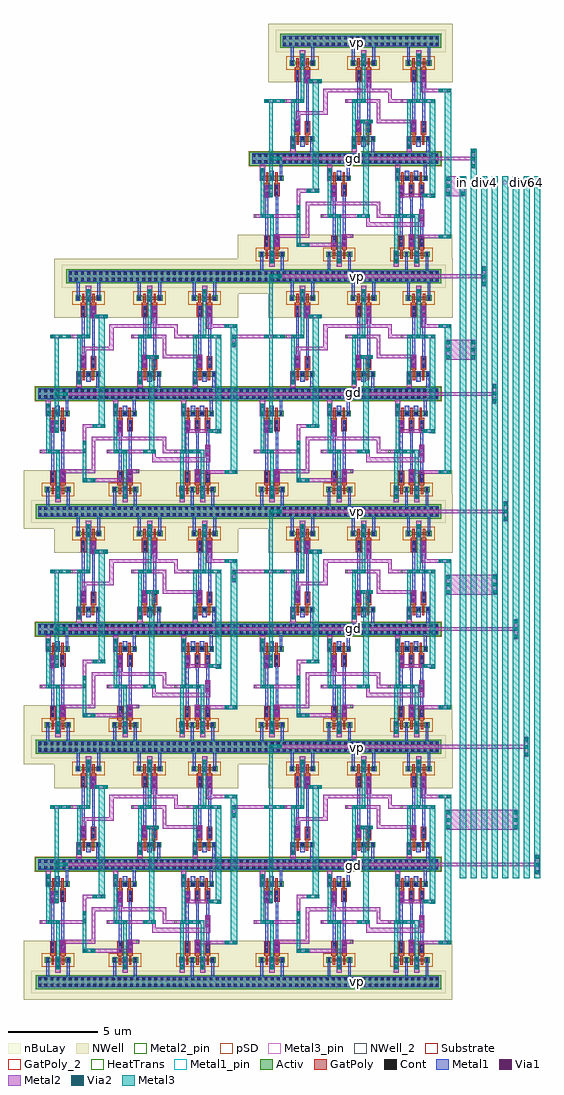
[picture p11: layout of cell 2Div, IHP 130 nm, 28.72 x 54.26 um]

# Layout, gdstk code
from math import pi, radians
import gdstk
lib = gdstk.Library(unit=1e-6, precision=1e-09)
def R(c, l, rs):  # rectangles x0, y0, x1, y1
    for r in rs: c.add(gdstk.rectangle(r[:2], r[2:], *l))
def A(c, l, x, y, w, h, nx, ny, dx, dy):  # array of equal rectangles
    R(c, l, [(x+i*dx, y+j*dy, x+i*dx+w, y+j*dy+h) for i in range(nx) for j in range(ny)])
Activ = (1, 0)
GatPoly = (5, 0)
GatPoly_2 = (5, 2)
Cont = (6, 0)
Metal1 = (8, 0)
Metal1_pin = (8, 2)
Metal2 = (10, 0)
Metal2_pin = (10, 2)
pSD = (14, 0)
Via1 = (19, 0)
Via2 = (29, 0)
Metal3 = (30, 0)
Metal3_pin = (30, 2)
NWell = (31, 0)
NWell_2 = (31, 2)
nBuLay = (32, 0)
Substrate = (40, 0)
HeatTrans = (51, 0)

via_40 = lib.new_cell('Via$40')
R(via_40, Metal2, [(-0.1,-0.555,0.1,0.555)])
A(via_40, Via2, -0.095, -0.505, 0.19, 0.19, 1, 3, 0, 0.41)
R(via_40, Metal3, [(-0.1,-0.555,0.1,0.555)])

ptap1_2 = lib.new_cell('ptap1$2')
R(ptap1_2, Activ, [(0,0,0.78,0.78)])
R(ptap1_2, Cont, [(0.14,0.14,0.3,0.3), (0.48,0.14,0.64,0.3), (0.14,0.48,0.3,0.64), (0.48,0.48,0.64,0.64)])
R(ptap1_2, Metal1, [(0.14,0.09,0.64,0.69), (0.14,0.14,0.64,0.64)])
R(ptap1_2, Metal1_pin, [(0.14,0.14,0.64,0.64)])
R(ptap1_2, pSD, [(-0.03,-0.03,0.81,0.81)])
R(ptap1_2, Substrate, [(0,0,0.78,0.78)])
ptap1_2.add(gdstk.Label('sub!', (0.39,0.01), layer=63, texttype=0))
ptap1_2.add(gdstk.Label('sub!', (0.39,0.01), layer=40, texttype=0))

ntap1_5 = lib.new_cell('ntap1$5')
R(ntap1_5, Activ, [(0,0,7.8,0.78)])
A(ntap1_5, Cont, 0.08, 0.14, 0.16, 0.16, 23, 2, 0.34, 0.34)
R(ntap1_5, Metal1, [(0.08,0.09,7.72,0.69)])
R(ntap1_5, Metal1_pin, [(0.08,0.09,7.72,0.69), (0.08,0.14,7.72,0.64)])
R(ntap1_5, NWell, [(-0.24,-0.24,8.04,1.02), (0,0,7.8,0.78)])
R(ntap1_5, NWell_2, [(0,0,7.8,0.78)])
R(ntap1_5, nBuLay, [(-0.24,-0.24,8.04,1.02)])
ntap1_5.add(gdstk.Label('well', (3.9,0.01), layer=63, texttype=0))
ntap1_5.add(gdstk.Label('well', (3.9,0.01), layer=31, texttype=0))

ntap1_1_6 = lib.new_cell('ntap1$1$6')
R(ntap1_1_6, Activ, [(0,0,2.5,0.78)])
A(ntap1_1_6, Cont, 0.15, 0.14, 0.16, 0.16, 7, 2, 0.34, 0.34)
R(ntap1_1_6, Metal1, [(0.15,0.09,2.35,0.69)])
R(ntap1_1_6, Metal1_pin, [(0.15,0.09,2.35,0.69), (0.15,0.14,2.35,0.64)])
R(ntap1_1_6, NWell, [(-0.24,-0.24,2.74,1.02), (0,0,2.5,0.78)])
R(ntap1_1_6, NWell_2, [(0,0,2.5,0.78)])
R(ntap1_1_6, nBuLay, [(-0.24,-0.24,2.74,1.02)])
ntap1_1_6.add(gdstk.Label('well', (1.25,0.01), layer=63, texttype=0))
ntap1_1_6.add(gdstk.Label('well', (1.25,0.01), layer=31, texttype=0))

nmos_14 = lib.new_cell('nmos$14')
A(nmos_14, Activ, 0, 0, 0.3, 0.3, 3, 1, 0.51, 0)
R(nmos_14, Activ, [(0,0,1.32,0.3)])
R(nmos_14, GatPoly, [(0.34,-0.18,0.47,0.48), (0.85,-0.18,0.98,0.48)])
R(nmos_14, GatPoly_2, [(0.34,-0.18,0.47,0.48)])
A(nmos_14, Cont, 0.07, 0.07, 0.16, 0.16, 3, 1, 0.51, 0)
A(nmos_14, Metal1, 0.07, 0, 0.16, 0.3, 3, 1, 0.51, 0)
R(nmos_14, Metal1_pin, [(0.07,0,0.23,0.3), (0.58,0,0.74,0.3)])
R(nmos_14, HeatTrans, [(0.34,-0.18,0.47,0.48), (0.85,-0.18,0.98,0.48)])
nmos_14.add(gdstk.Label('nmos', (0.405,0.15), layer=63, texttype=0))
nmos_14.add(gdstk.Label('nmos', (0.405,0.15), layer=51, texttype=0))
nmos_14.add(gdstk.Label('nmos', (0.915,0.15), layer=51, texttype=0))

ptap1_1_7 = lib.new_cell('ptap1$1$7')
R(ptap1_1_7, Activ, [(0,0,2.5,0.78)])
A(ptap1_1_7, Cont, 0.15, 0.14, 0.16, 0.16, 7, 2, 0.34, 0.34)
R(ptap1_1_7, Metal1, [(0.15,0.09,2.35,0.69), (0.15,0.14,2.35,0.64)])
R(ptap1_1_7, Metal1_pin, [(0.15,0.14,2.35,0.64)])
R(ptap1_1_7, pSD, [(-0.03,-0.03,2.53,0.81)])
R(ptap1_1_7, Substrate, [(0,0,2.5,0.78)])
ptap1_1_7.add(gdstk.Label('sub!', (1.25,0.01), layer=63, texttype=0))
ptap1_1_7.add(gdstk.Label('sub!', (1.25,0.01), layer=40, texttype=0))

via_8_2 = lib.new_cell('Via$8$2')
R(via_8_2, Metal2, [(-0.1,-0.35,0.1,0.35)])
R(via_8_2, Via2, [(-0.095,-0.3,0.095,-0.11), (-0.095,0.11,0.095,0.3)])
R(via_8_2, Metal3, [(-0.1,-0.35,0.1,0.35)])

via_10_4 = lib.new_cell('Via$10$4')
R(via_10_4, Metal1, [(-0.105,-0.35,0.105,0.35)])
R(via_10_4, Metal2, [(-0.1,-0.35,0.1,0.35)])
R(via_10_4, Via1, [(-0.095,-0.3,0.095,-0.11), (-0.095,0.11,0.095,0.3)])

via_6_8 = lib.new_cell('Via$6$8')
R(via_6_8, GatPoly, [(-0.32,-0.15,0.32,0.15)])
R(via_6_8, Cont, [(-0.25,-0.08,-0.09,0.08), (0.09,-0.08,0.25,0.08)])
R(via_6_8, Metal1, [(-0.3,-0.08,0.3,0.08)])

pmos_12 = lib.new_cell('pmos$12')
A(pmos_12, Activ, 0, 0, 0.3, 0.3, 3, 1, 0.57, 0)
R(pmos_12, Activ, [(0,0.075,1.44,0.225)])
R(pmos_12, GatPoly, [(0.37,-0.105,0.5,0.405), (0.37,-0.105,0.5,0.405), (0.94,-0.105,1.07,0.405)])
A(pmos_12, Cont, 0.07, 0.07, 0.16, 0.16, 3, 1, 0.57, 0)
R(pmos_12, Metal1, [(0.07,0.02,0.23,0.28), (0.07,0.02,0.23,0.28), (0.64,0.02,0.8,0.28), (0.64,0.02,0.8,0.28), (1.21,0.02,1.37,0.28)])
R(pmos_12, pSD, [(-0.18,-0.225,1.62,0.525)])
R(pmos_12, NWell, [(-0.31,-0.31,1.75,0.61)])
R(pmos_12, Substrate, [(1.14,0,1.44,0.3)])
R(pmos_12, HeatTrans, [(0.37,-0.105,0.5,0.405), (0.94,-0.105,1.07,0.405)])
pmos_12.add(gdstk.Label('pmos', (0.435,0.15), layer=63, texttype=0))
pmos_12.add(gdstk.Label('pmos', (0.435,0.15), layer=51, texttype=0))
pmos_12.add(gdstk.Label('pmos', (1.005,0.15), layer=51, texttype=0))

nand_2in_nmosx2_7 = lib.new_cell('NAND_2in_nmosx2$7')
R(nand_2in_nmosx2_7, GatPoly, [(0.605,-3.005,0.905,-2.895), (1.165,-3.005,1.465,-2.895), (0.6,0.58,0.9,0.73), (1.16,0.58,1.46,0.73), (0.68,0.68,0.81,0.77), (1.25,0.68,1.38,0.77)])
R(nand_2in_nmosx2_7, Metal1, [(0.445,-4.15,0.605,-3.37), (0.915,-3.675,1.155,-3.415), (0.915,-3.435,1.155,-3.095), (0.67,-2.44,0.835,-2.21), (0.67,-2.21,0.83,-1.27), (1.23,-2.21,1.39,-1.27), (0.67,-1.31,0.83,-0.37), (1.23,-1.31,1.39,-0.37), (0.67,-0.37,0.83,-0.12), (1.23,-0.37,1.39,-0.01), (1.52,1,1.68,1.2), (0.38,1.01,0.54,1.15), (0.38,1.115,0.54,1.99), (1.52,1.115,1.68,1.94)])
R(nand_2in_nmosx2_7, Metal1_pin, [(0.44,-4.395,0.57,-4.265), (0.4,2.15,0.53,2.28)])
R(nand_2in_nmosx2_7, Metal2, [(1.415,-3.995,1.705,-3.795), (1.415,-3.795,1.705,-3.095), (1.165,-2.875,1.465,-2.175), (1.62,-1.24,2.05,-1.04), (0.6,-0.14,0.9,0.56), (0.88,0.78,1.17,0.98), (0.88,0.98,1.17,1.68)])
R(nand_2in_nmosx2_7, Metal2_pin, [(1.255,-2.345,1.385,-2.215), (1.905,-1.205,2.035,-1.075), (0.69,-0.1,0.82,0.03)])
R(nand_2in_nmosx2_7, Metal3, [(1.465,-3.105,1.665,-2.905), (1.465,-2.905,1.665,-1.045), (0.93,-1.09,1.13,0.17), (0.93,0.1,1.13,0.62), (0.93,0.62,1.13,0.72), (0.93,0.71,1.13,0.87)])
R(nand_2in_nmosx2_7, NWell, [(-0.85,-0.1,2.93,3.17)])
nand_2in_nmosx2_7.add(gdstk.Reference(ntap1_1_6, (-0.23,1.81)))
nand_2in_nmosx2_7.add(gdstk.Reference(nmos_14, (1.695,-3.095), rotation=pi))
nand_2in_nmosx2_7.add(gdstk.Reference(ptap1_1_7, (-0.22,-4.73)))
nand_2in_nmosx2_7.add(gdstk.Reference(via_8_2, (1.27,-1.14), rotation=3*pi/2))
nand_2in_nmosx2_7.add(gdstk.Reference(via_10_4, (1.565,-3.445), rotation=pi))
nand_2in_nmosx2_7.add(gdstk.Reference(via_10_4, (1.315,-2.525), rotation=pi))
nand_2in_nmosx2_7.add(gdstk.Reference(via_10_4, (0.75,0.21), rotation=pi))
nand_2in_nmosx2_7.add(gdstk.Reference(via_10_4, (1.03,1.13), rotation=pi))
nand_2in_nmosx2_7.add(gdstk.Reference(via_6_8, (0.755,-2.575), rotation=3*pi/2))
nand_2in_nmosx2_7.add(gdstk.Reference(via_6_8, (1.315,-2.575), rotation=3*pi/2))
nand_2in_nmosx2_7.add(gdstk.Reference(via_6_8, (0.75,0.26), rotation=3*pi/2))
nand_2in_nmosx2_7.add(gdstk.Reference(via_6_8, (1.31,0.26), rotation=3*pi/2))
nand_2in_nmosx2_7.add(gdstk.Reference(via_8_2, (1.565,-3.445), rotation=pi))
nand_2in_nmosx2_7.add(gdstk.Reference(via_8_2, (1.03,1.13), rotation=pi))
nand_2in_nmosx2_7.add(gdstk.Reference(pmos_12, (1.75,1.13), rotation=pi))
nand_2in_nmosx2_7.add(gdstk.Label('VP', (0.46,2.21), layer=8, texttype=25))
nand_2in_nmosx2_7.add(gdstk.Label('GND', (0.505,-4.325), layer=8, texttype=25))
nand_2in_nmosx2_7.add(gdstk.Label('y', (1.97,-1.14), layer=10, texttype=25))
nand_2in_nmosx2_7.add(gdstk.Label('b', (0.75,-0.04), layer=10, texttype=25))
nand_2in_nmosx2_7.add(gdstk.Label('a', (1.315,-2.285), layer=10, texttype=25))

via_11_2 = lib.new_cell('Via$11$2')
R(via_11_2, Metal2, [(-0.1,-0.555,0.1,0.555)])
A(via_11_2, Via2, -0.095, -0.505, 0.19, 0.19, 1, 3, 0, 0.41)
R(via_11_2, Metal3, [(-0.1,-0.555,0.1,0.555)])

nmos_2_4 = lib.new_cell('nmos$2$4')
A(nmos_2_4, Activ, 0, 0, 0.3, 0.3, 4, 1, 0.51, 0)
R(nmos_2_4, Activ, [(0,0,1.83,0.3)])
A(nmos_2_4, GatPoly, 0.34, -0.18, 0.13, 0.66, 3, 1, 0.51, 0)
R(nmos_2_4, GatPoly_2, [(0.34,-0.18,0.47,0.48)])
A(nmos_2_4, Cont, 0.07, 0.07, 0.16, 0.16, 4, 1, 0.51, 0)
A(nmos_2_4, Metal1, 0.07, 0, 0.16, 0.3, 4, 1, 0.51, 0)
R(nmos_2_4, Metal1_pin, [(0.07,0,0.23,0.3), (0.58,0,0.74,0.3)])
A(nmos_2_4, HeatTrans, 0.34, -0.18, 0.13, 0.66, 3, 1, 0.51, 0)
nmos_2_4.add(gdstk.Label('nmos', (0.405,0.15), layer=63, texttype=0))
nmos_2_4.add(gdstk.Label('nmos', (0.405,0.15), layer=51, texttype=0))
nmos_2_4.add(gdstk.Label('nmos', (0.915,0.15), layer=51, texttype=0))
nmos_2_4.add(gdstk.Label('nmos', (1.425,0.15), layer=51, texttype=0))

ntap1_6 = lib.new_cell('ntap1$6')
R(ntap1_6, Activ, [(0,0,3.5,0.78)])
A(ntap1_6, Cont, 0.14, 0.14, 0.16, 0.16, 10, 2, 0.34, 0.34)
R(ntap1_6, Metal1, [(0.14,0.09,3.36,0.69)])
R(ntap1_6, Metal1_pin, [(0.14,0.09,3.36,0.69), (0.14,0.14,3.36,0.64)])
R(ntap1_6, NWell, [(-0.24,-0.24,3.74,1.02), (0,0,3.5,0.78)])
R(ntap1_6, NWell_2, [(0,0,3.5,0.78)])
R(ntap1_6, nBuLay, [(-0.24,-0.24,3.74,1.02)])
ntap1_6.add(gdstk.Label('well', (1.75,0.01), layer=63, texttype=0))
ntap1_6.add(gdstk.Label('well', (1.75,0.01), layer=31, texttype=0))

ptap1_4 = lib.new_cell('ptap1$4')
R(ptap1_4, Activ, [(0,0,3.5,0.78)])
A(ptap1_4, Cont, 0.14, 0.14, 0.16, 0.16, 10, 2, 0.34, 0.34)
R(ptap1_4, Metal1, [(0.14,0.09,3.36,0.69), (0.14,0.14,3.36,0.64)])
R(ptap1_4, Metal1_pin, [(0.14,0.14,3.36,0.64)])
R(ptap1_4, pSD, [(-0.03,-0.03,3.53,0.81)])
R(ptap1_4, Substrate, [(0,0,3.5,0.78)])
ptap1_4.add(gdstk.Label('sub!', (1.75,0.01), layer=63, texttype=0))
ptap1_4.add(gdstk.Label('sub!', (1.75,0.01), layer=40, texttype=0))

pmos_2_4 = lib.new_cell('pmos$2$4')
A(pmos_2_4, Activ, 0, 0, 0.3, 0.3, 4, 1, 0.57, 0)
R(pmos_2_4, Activ, [(0,0.075,2.01,0.225)])
A(pmos_2_4, GatPoly, 0.37, -0.105, 0.13, 0.51, 3, 1, 0.57, 0)
R(pmos_2_4, GatPoly, [(0.37,-0.105,0.5,0.405)])
A(pmos_2_4, Cont, 0.07, 0.07, 0.16, 0.16, 4, 1, 0.57, 0)
A(pmos_2_4, Metal1, 0.64, 0.02, 0.16, 0.26, 3, 1, 0.57, 0)
R(pmos_2_4, Metal1, [(0.07,0.02,0.23,0.28), (0.07,0.02,0.23,0.28), (0.64,0.02,0.8,0.28)])
R(pmos_2_4, pSD, [(-0.18,-0.225,2.19,0.525)])
R(pmos_2_4, NWell, [(-0.31,-0.31,2.32,0.61)])
R(pmos_2_4, Substrate, [(1.71,0,2.01,0.3)])
A(pmos_2_4, HeatTrans, 0.37, -0.105, 0.13, 0.51, 3, 1, 0.57, 0)
pmos_2_4.add(gdstk.Label('pmos', (0.435,0.15), layer=63, texttype=0))
pmos_2_4.add(gdstk.Label('pmos', (0.435,0.15), layer=51, texttype=0))
pmos_2_4.add(gdstk.Label('pmos', (1.005,0.15), layer=51, texttype=0))
pmos_2_4.add(gdstk.Label('pmos', (1.575,0.15), layer=51, texttype=0))

nand_3in_nmosx3_10 = lib.new_cell('NAND_3in_nmosx3$10')
R(nand_3in_nmosx3_10, GatPoly, [(0.115,-3.025,0.245,-2.915), (0.685,-3.025,0.815,-2.915), (0.035,-3.005,0.335,-2.895), (0.605,-3.005,0.905,-2.895), (1.165,-3.005,1.465,-2.895), (0.03,0.58,0.33,0.73), (0.6,0.58,0.9,0.73), (1.16,0.58,1.46,0.73), (0.68,0.68,0.81,0.77), (1.25,0.68,1.38,0.77)])
R(nand_3in_nmosx3_10, Metal1, [(-0.095,-4.15,0.065,-3.37), (0.375,-3.675,0.615,-3.415), (0.885,-3.675,1.125,-3.415), (0.375,-3.435,0.615,-3.095), (0.885,-3.435,1.125,-3.095), (0.67,-2.44,0.835,-2.09), (0.1,-2.42,0.265,-1.91), (0.67,-2.21,0.83,-1.27), (1.23,-2.21,1.39,-1.27), (0.1,-1.91,0.26,-0.56), (0.67,-1.31,0.83,-0.37), (1.23,-1.31,1.39,-0.37), (0.1,-0.62,0.26,-0.04), (1.23,-0.53,1.39,0), (0.67,-0.37,0.83,-0.11), (0.95,1,1.11,1.2), (-0.19,1.01,-0.03,1.15), (-0.19,1.115,-0.03,1.99), (0.95,1.115,1.11,1.94)])
R(nand_3in_nmosx3_10, Metal1_pin, [(0.44,-4.405,0.57,-4.275), (0.74,2.15,0.87,2.28)])
R(nand_3in_nmosx3_10, Metal2, [(1.375,-3.995,1.665,-3.795), (1.375,-3.795,1.665,-3.095), (1.155,-2.875,1.455,-2.175), (0.03,-1.51,0.33,-0.81), (1.62,-1.24,2.05,-1.04), (0.59,-0.14,0.89,0.56), (0.31,0.78,0.6,0.98), (1.45,0.78,1.74,0.98), (0.31,0.98,0.6,1.68), (1.45,0.98,1.74,1.68)])
R(nand_3in_nmosx3_10, Metal2_pin, [(1.255,-2.385,1.385,-2.255), (0.11,-1.215,0.24,-1.085), (1.905,-1.205,2.035,-1.075), (0.69,-0.07,0.82,0.06)])
R(nand_3in_nmosx3_10, Metal3, [(1.425,-3.105,1.625,-2.905), (1.425,-2.905,1.625,-2.5), (1.425,-2.5,1.625,-1.15), (0.36,-1.24,0.56,-0.97), (0.38,-1.24,0.565,-1.04), (1.66,-1.24,1.7,-1.09), (1.5,-1.09,1.7,0.17), (0.36,-0.97,0.56,0.26), (1.5,-0.03,1.7,0.62), (0.36,0.08,0.56,0.78), (1.5,0.62,1.7,0.72), (1.5,0.71,1.7,0.87)])
R(nand_3in_nmosx3_10, NWell, [(-1.52,-0.1,-0.85,3.17), (-0.85,-0.1,2.93,3.17)])
nand_3in_nmosx3_10.add(gdstk.Reference(via_10_4, (1.525,-3.445), rotation=pi))
nand_3in_nmosx3_10.add(gdstk.Reference(via_10_4, (1.315,-2.525), rotation=pi))
nand_3in_nmosx3_10.add(gdstk.Reference(via_10_4, (0.18,-1.16), rotation=pi))
nand_3in_nmosx3_10.add(gdstk.Reference(via_10_4, (0.75,0.21), rotation=pi))
nand_3in_nmosx3_10.add(gdstk.Reference(via_10_4, (0.46,1.13), rotation=pi))
nand_3in_nmosx3_10.add(gdstk.Reference(via_10_4, (1.6,1.13), rotation=pi))
nand_3in_nmosx3_10.add(gdstk.Reference(via_11_2, (1.12,-1.14), rotation=3*pi/2))
nand_3in_nmosx3_10.add(gdstk.Reference(nmos_2_4, (1.665,-3.095), rotation=pi))
nand_3in_nmosx3_10.add(gdstk.Reference(ntap1_6, (-0.9,1.81)))
nand_3in_nmosx3_10.add(gdstk.Reference(ptap1_4, (-0.89,-4.73)))
nand_3in_nmosx3_10.add(gdstk.Reference(via_8_2, (1.525,-3.445), rotation=pi))
nand_3in_nmosx3_10.add(gdstk.Reference(via_8_2, (0.46,1.13), rotation=pi))
nand_3in_nmosx3_10.add(gdstk.Reference(via_8_2, (1.6,1.13), rotation=pi))
nand_3in_nmosx3_10.add(gdstk.Reference(via_6_8, (0.185,-2.575), rotation=3*pi/2))
nand_3in_nmosx3_10.add(gdstk.Reference(via_6_8, (0.755,-2.575), rotation=3*pi/2))
nand_3in_nmosx3_10.add(gdstk.Reference(via_6_8, (1.315,-2.575), rotation=3*pi/2))
nand_3in_nmosx3_10.add(gdstk.Reference(via_6_8, (0.18,0.26), rotation=3*pi/2))
nand_3in_nmosx3_10.add(gdstk.Reference(via_6_8, (0.75,0.26), rotation=3*pi/2))
nand_3in_nmosx3_10.add(gdstk.Reference(via_6_8, (1.31,0.26), rotation=3*pi/2))
nand_3in_nmosx3_10.add(gdstk.Reference(pmos_2_4, (1.75,1.13), rotation=pi))
nand_3in_nmosx3_10.add(gdstk.Label('VP', (0.8,2.21), layer=8, texttype=25))
nand_3in_nmosx3_10.add(gdstk.Label('GND', (0.505,-4.335), layer=8, texttype=25))
nand_3in_nmosx3_10.add(gdstk.Label('y', (1.97,-1.14), layer=10, texttype=25))
nand_3in_nmosx3_10.add(gdstk.Label('b', (0.76,0.02), layer=10, texttype=25))
nand_3in_nmosx3_10.add(gdstk.Label('c', (0.17,-1.15), layer=10, texttype=25))
nand_3in_nmosx3_10.add(gdstk.Label('a', (1.315,-2.325), layer=10, texttype=25))

ntap1_3_2 = lib.new_cell('ntap1$3$2')
R(ntap1_3_2, Activ, [(0,0,1.8,0.78)])
A(ntap1_3_2, Cont, 0.14, 0.14, 0.16, 0.16, 5, 2, 0.34, 0.34)
R(ntap1_3_2, Metal1, [(0.14,0.09,1.66,0.69)])
R(ntap1_3_2, Metal1_pin, [(0.14,0.09,1.66,0.69), (0.14,0.14,1.66,0.64)])
R(ntap1_3_2, NWell, [(-0.24,-0.24,2.04,1.02), (0,0,1.8,0.78)])
R(ntap1_3_2, NWell_2, [(0,0,1.8,0.78)])
R(ntap1_3_2, nBuLay, [(-0.24,-0.24,2.04,1.02)])
ntap1_3_2.add(gdstk.Label('well', (0.9,0.01), layer=63, texttype=0))
ntap1_3_2.add(gdstk.Label('well', (0.9,0.01), layer=31, texttype=0))

via_36 = lib.new_cell('Via$36')
R(via_36, Metal2, [(-0.35,-0.1,0.35,0.1)])
R(via_36, Via2, [(-0.3,-0.095,-0.11,0.095), (0.11,-0.095,0.3,0.095)])
R(via_36, Metal3, [(-0.35,-0.1,0.35,0.1)])

via_12_2 = lib.new_cell('Via$12$2')
R(via_12_2, Metal2, [(-0.555,-0.1,0.555,0.1)])
A(via_12_2, Via2, -0.505, -0.095, 0.19, 0.19, 3, 1, 0.41, 0)
R(via_12_2, Metal3, [(-0.555,-0.1,0.555,0.1)])

via_13_3 = lib.new_cell('Via$13$3')
R(via_13_3, Metal2, [(-0.76,-0.1,0.76,0.1)])
A(via_13_3, Via2, -0.71, -0.095, 0.19, 0.19, 4, 1, 0.41, 0)
R(via_13_3, Metal3, [(-0.76,-0.1,0.76,0.1)])

ntap1_2_9 = lib.new_cell('ntap1$2$9')
R(ntap1_2_9, Activ, [(0,0,2,0.78)])
A(ntap1_2_9, Cont, 0.07, 0.14, 0.16, 0.16, 6, 2, 0.34, 0.34)
R(ntap1_2_9, Metal1, [(0.07,0.09,1.93,0.69)])
R(ntap1_2_9, Metal1_pin, [(0.07,0.09,1.93,0.69), (0.07,0.14,1.93,0.64)])
R(ntap1_2_9, NWell, [(-0.24,-0.24,2.24,1.02), (0,0,2,0.78)])
R(ntap1_2_9, NWell_2, [(0,0,2,0.78)])
R(ntap1_2_9, nBuLay, [(-0.24,-0.24,2.24,1.02)])
ntap1_2_9.add(gdstk.Label('well', (1,0.01), layer=63, texttype=0))
ntap1_2_9.add(gdstk.Label('well', (1,0.01), layer=31, texttype=0))

d_flip_flop_2 = lib.new_cell('d_flip_flop$2')
R(d_flip_flop_2, Metal1_pin, [(5.305,-5.04,5.435,-4.91), (4.995,1.37,5.125,1.5), (4.785,7.96,4.915,8.09)])
R(d_flip_flop_2, Metal2, [(-0.15,-2.95,1.29,-2.75), (1.29,-2.95,1.96,-2.75), (5.3,-2.91,5.88,-2.71), (7.74,-2.91,9.52,-2.71), (7.74,-2.81,7.94,-2.31), (1.34,-2.31,1.6,-2.04), (1.36,-2.31,4.58,-2.04), (7.74,-2.31,7.94,-1.39), (4.38,-2.13,4.585,-1.73), (3.36,-1.81,3.94,-1.61), (3.79,-1.81,3.99,-1.39), (4.38,-1.81,4.67,-1.61), (4.67,-1.81,6.02,-1.61), (8.24,-1.81,8.44,-0.89), (8.27,-1.81,9.71,-1.61), (3.79,-1.39,3.99,-0.91), (7.74,-1.39,7.94,-0.91), (3.79,-1.1,4.07,-0.9), (4.07,-1.1,4.65,-0.9), (4.65,-1.1,6.26,-0.9), (6.16,-1.1,7.94,-0.9), (6.215,-0.94,6.515,-0.675), (8.24,-0.89,8.44,-0.2), (1.38,-0.67,2.58,-0.47), (7.69,-0.4,8.27,-0.2), (1.79,3.46,3.17,3.66), (3.17,3.46,3.99,3.66), (3.79,3.53,3.99,4.17), (8.255,3.655,8.505,4.12), (6.71,3.92,6.96,5.17), (6.71,3.92,7.72,4.12), (7.72,3.92,8.47,4.12), (3.79,4.17,3.99,4.59), (2.465,4.59,3.35,4.79), (3.79,4.59,4.61,4.79), (9.14,4.59,10.17,4.79), (3.15,4.79,3.35,5.21), (0.13,5.17,0.61,5.37), (0.61,5.17,1.48,5.37), (1.23,5.17,1.53,5.19), (3.15,5.17,3.67,5.37), (3.67,5.17,4.54,5.37), (4.22,5.17,6.21,5.37), (6.21,5.17,6.96,5.37), (1.23,5.19,1.53,5.69), (4.29,5.29,4.59,5.69)])
R(d_flip_flop_2, Metal2_pin, [(5.325,-2.88,5.455,-2.75), (10.695,-1.775,10.825,-1.645), (10.075,4.625,10.205,4.755)])
R(d_flip_flop_2, Metal3, [(-0.15,-2.85,0.2,-2.45), (-0.15,-2.45,0.2,4.28), (4.45,-1.81,4.73,2.56), (0.73,-0.7,1.05,3.6), (9.78,-0.47,9.98,3.76), (7.205,-0.4,7.54,4.77), (4.45,2.56,4.73,3.49), (0.73,3.6,1.05,4.69), (9.775,3.76,9.98,4.69), (-0.15,4.28,0.2,5.23), (7.205,4.77,7.54,5.76)])
R(d_flip_flop_2, Metal3_pin, [(-0.045,1.42,0.085,1.55)])
d_flip_flop_2.add(gdstk.Reference(nand_2in_nmosx2_7, (5.05,-2.85), x_reflection=True))
d_flip_flop_2.add(gdstk.Reference(nand_3in_nmosx3_10, (1.31,-2.85), x_reflection=True))
d_flip_flop_2.add(gdstk.Reference(nand_2in_nmosx2_7, (7.09,5.83)))
d_flip_flop_2.add(gdstk.Reference(nand_2in_nmosx2_7, (0.63,5.83)))
d_flip_flop_2.add(gdstk.Reference(nand_2in_nmosx2_7, (8.79,-2.85), x_reflection=True))
d_flip_flop_2.add(gdstk.Reference(ntap1_3_2, (2.45,7.64)))
d_flip_flop_2.add(gdstk.Reference(ntap1_3_2, (5.51,7.64)))
d_flip_flop_2.add(gdstk.Reference(via_36, (0.2,-2.85), rotation=pi))
d_flip_flop_2.add(gdstk.Reference(via_36, (0.2,5.27), rotation=pi))
d_flip_flop_2.add(gdstk.Reference(nand_2in_nmosx2_7, (3.69,5.83)))
d_flip_flop_2.add(gdstk.Reference(via_12_2, (9.68,4.69), rotation=pi))
d_flip_flop_2.add(gdstk.Reference(via_8_2, (9.88,-0.32), rotation=pi))
d_flip_flop_2.add(gdstk.Reference(via_36, (1.08,-0.57), rotation=pi))
d_flip_flop_2.add(gdstk.Reference(via_13_3, (1.49,4.69), rotation=pi))
d_flip_flop_2.add(gdstk.Reference(via_36, (7.54,-0.3), rotation=pi))
d_flip_flop_2.add(gdstk.Reference(via_36, (7.41,5.79), rotation=pi))
d_flip_flop_2.add(gdstk.Reference(via_36, (4.73,-1.71), rotation=pi))
d_flip_flop_2.add(gdstk.Reference(via_36, (4.56,3.55), rotation=pi))
d_flip_flop_2.add(gdstk.Reference(ntap1_3_2, (3.47,-5.44)))
d_flip_flop_2.add(gdstk.Reference(ntap1_2_9, (6.94,-5.44)))
d_flip_flop_2.add(gdstk.Label('VP', (5.37,-4.98), layer=8, texttype=25))
d_flip_flop_2.add(gdstk.Label('VP', (4.85,7.56), layer=8, texttype=25))
d_flip_flop_2.add(gdstk.Label('GND', (5.06,1.43), layer=8, texttype=25))
d_flip_flop_2.add(gdstk.Label('q', (10.14,4.69), layer=10, texttype=25))
d_flip_flop_2.add(gdstk.Label('d', (5.39,-2.81), layer=10, texttype=25))
d_flip_flop_2.add(gdstk.Label('q_', (10.76,-1.71), layer=10, texttype=25))
d_flip_flop_2.add(gdstk.Label('clk', (0.02,1.48), layer=30, texttype=25))

via_39 = lib.new_cell('Via$39')
R(via_39, Metal2, [(-0.1,-0.35,0.1,0.35)])
R(via_39, Via2, [(-0.095,-0.3,0.095,-0.11), (-0.095,0.11,0.095,0.3)])
R(via_39, Metal3, [(-0.1,-0.35,0.1,0.35)])

via_43 = lib.new_cell('Via$43')
R(via_43, Metal2, [(-0.35,-0.1,0.35,0.1)])
R(via_43, Via2, [(-0.3,-0.095,-0.11,0.095), (0.11,-0.095,0.3,0.095)])
R(via_43, Metal3, [(-0.35,-0.1,0.35,0.1)])

c_2div = lib.new_cell('2Div')
R(c_2div, Metal1_pin, [(-72.89,-8.14,-72.79,-8.04), (-73.1,-1.69,-73,-1.59), (-72.89,4.84,-72.79,4.94), (-73.1,11.48,-73,11.58), (-72.89,17.98,-72.79,18.08), (-73.1,24.57,-73,24.67), (-72.89,31.02,-72.79,31.12), (-73.1,37.58,-73,37.68), (-72.89,44.08,-72.79,44.18)])
A(c_2div, Metal2, -88.09, -6.49, 2.79, 0.21, 1, 3, 0, 13.08)
A(c_2div, Metal2, -76.19, -6.49, 2.79, 0.21, 1, 4, 0, 13.08)
A(c_2div, Metal2, -89.55, -1.69, 12.14, 0.2, 1, 3, 0, 13.08)
A(c_2div, Metal2, -77.73, -1.69, 1.81, 0.2, 1, 7, 0, 6.54)
A(c_2div, Metal2, -75.97, -1.69, 3.51, 0.2, 1, 7, 0, 6.54)
A(c_2div, Metal2, -72.46, -1.69, 5.12, 0.2, 1, 7, 0, 6.54)
A(c_2div, Metal2, -67.48, -1.69, 1.16, 0.2, 1, 7, 0, 6.54)
A(c_2div, Metal2, -79.78, 1.51, 1.795, 0.2, 1, 3, 0, 13.08)
R(c_2div, Metal2, [(-66.32,-1.69,-62.86,-1.49), (-67.87,0.335,-63.9,1.445), (-81.18,2.04,-80.88,2.62), (-66.43,4.85,-64.495,5.05), (-64.495,4.85,-63.4,5.05), (-66.45,11.39,-63.9,11.59), (-67.87,13.41,-66.26,14.52), (-66.41,13.41,-65.07,14.52), (-66.43,17.93,-64.495,18.13), (-66.35,24.47,-65.09,24.67), (-67.87,26.47,-66.26,27.58), (-81.18,28.2,-80.88,28.82), (-66.39,31.01,-65.74,31.21), (-67.87,35.56,-66.85,36.67)])
A(c_2div, Metal3, -88.09, -6.49, 0.2, 1.6, 1, 3, 0, 13.08)
A(c_2div, Metal3, -76.19, -6.49, 0.2, 1.6, 1, 4, 0, 13.08)
A(c_2div, Metal3, -67.12, -1.99, 0.34, 4.22, 8, 1, 0.59, 0)
A(c_2div, Metal3, -77.73, 1.1, 0.2, 3.94, 1, 3, 0, 13.08)
A(c_2div, Metal3, -77.68, 1.47, 0.155, 3.58, 1, 3, 0, 13.08)
A(c_2div, Metal3, -67.12, 2.415, 0.34, 34.255, 8, 1, 0.59, 0)
R(c_2div, Metal3, [(-67.12,-2.36,-66.78,-1.99), (-66.53,-2.36,-66.19,-1.99), (-66.53,-2.36,-66.19,-1.99), (-65.94,-2.36,-65.6,-1.99), (-65.94,-2.36,-65.6,-1.99), (-65.35,-2.36,-65.01,-1.99), (-65.35,-2.36,-65.01,-1.99), (-64.76,-2.36,-64.42,-1.99), (-64.76,-2.36,-64.42,-1.99), (-64.17,-2.36,-63.83,-1.99), (-64.17,-2.36,-63.83,-1.99), (-63.58,-2.36,-63.24,-1.99), (-63.58,-2.36,-63.24,-1.99), (-63.58,-2.36,-63.24,-1.99), (-62.99,-2.36,-62.65,-1.99), (-67.12,2.23,-66.78,2.6), (-66.53,2.23,-66.19,2.6), (-66.53,2.23,-66.19,2.6), (-65.94,2.23,-65.6,2.6), (-65.94,2.23,-65.6,2.6), (-65.35,2.23,-65.01,2.6), (-65.35,2.23,-65.01,2.6), (-64.76,2.23,-64.42,2.6), (-64.76,2.23,-64.42,2.6), (-64.17,2.23,-63.83,2.6), (-64.17,2.23,-63.83,2.6), (-63.58,2.23,-63.24,2.6), (-63.58,2.23,-63.24,2.6), (-63.58,2.23,-63.24,2.6), (-62.99,2.23,-62.65,2.6), (-67.12,36.3,-66.78,36.67), (-66.53,36.3,-66.19,36.67), (-66.53,36.3,-66.19,36.67), (-65.94,36.3,-65.6,36.67), (-65.94,36.3,-65.6,36.67), (-65.35,36.3,-65.01,36.67), (-65.35,36.3,-65.01,36.67), (-64.76,36.3,-64.42,36.67), (-64.76,36.3,-64.42,36.67), (-64.17,36.3,-63.83,36.67), (-64.17,36.3,-63.83,36.67), (-63.58,36.3,-63.24,36.67), (-63.58,36.3,-63.24,36.67), (-63.58,36.3,-63.24,36.67), (-62.99,36.3,-62.65,36.67), (-66.53,36.53,-66.19,38.21)])
R(c_2div, Metal3_pin, [(-67.05,36.21,-66.855,36.43), (-66.47,36.21,-66.275,36.43), (-65.855,36.21,-65.66,36.43), (-65.28,36.21,-65.085,36.43), (-64.7,36.21,-64.505,36.43), (-64.115,36.21,-63.92,36.43), (-63.485,36.21,-63.29,36.43), (-62.95,36.21,-62.755,36.43)])
c_2div.add(gdstk.Reference(via_40, (-65.77,31.105)))
c_2div.add(gdstk.Reference(ptap1_2, (-79.73,-1.98), rotation=pi, x_reflection=True))
c_2div.add(gdstk.Reference(ptap1_2, (-79.39,-1.98), rotation=pi, x_reflection=True))
c_2div.add(gdstk.Reference(ptap1_2, (-79.05,-1.98), rotation=pi, x_reflection=True))
c_2div.add(gdstk.Reference(ptap1_2, (-78.71,-1.98), rotation=pi, x_reflection=True))
c_2div.add(gdstk.Reference(ptap1_2, (-78.37,-1.98), rotation=pi, x_reflection=True))
c_2div.add(gdstk.Reference(ntap1_5, (-76.72,4.56), rotation=pi, x_reflection=True))
c_2div.add(gdstk.Reference(ntap1_5, (-78.42,-8.52), rotation=pi, x_reflection=True))
c_2div.add(gdstk.Reference(d_flip_flop_2, (-79.65,-3.08), rotation=pi, x_reflection=True))
c_2div.add(gdstk.Reference(d_flip_flop_2, (-67.75,-3.08), rotation=pi, x_reflection=True))
c_2div.add(gdstk.Reference(ptap1_2, (-79.73,11.1), rotation=pi, x_reflection=True))
c_2div.add(gdstk.Reference(ptap1_2, (-79.73,24.18), rotation=pi, x_reflection=True))
c_2div.add(gdstk.Reference(d_flip_flop_2, (-67.75,23.08), rotation=pi, x_reflection=True))
c_2div.add(gdstk.Reference(d_flip_flop_2, (-67.75,36.16), rotation=pi, x_reflection=True))
c_2div.add(gdstk.Reference(ptap1_2, (-79.39,24.18), rotation=pi, x_reflection=True))
c_2div.add(gdstk.Reference(ptap1_2, (-79.05,24.18), rotation=pi, x_reflection=True))
c_2div.add(gdstk.Reference(ptap1_2, (-78.71,24.18), rotation=pi, x_reflection=True))
c_2div.add(gdstk.Reference(ptap1_2, (-78.37,24.18), rotation=pi, x_reflection=True))
c_2div.add(gdstk.Reference(ntap1_5, (-76.72,17.64), rotation=pi, x_reflection=True))
c_2div.add(gdstk.Reference(ntap1_5, (-76.72,30.72), rotation=pi, x_reflection=True))
c_2div.add(gdstk.Reference(d_flip_flop_2, (-79.65,10), rotation=pi, x_reflection=True))
c_2div.add(gdstk.Reference(via_39, (-76.09,34.7), rotation=pi, x_reflection=True))
c_2div.add(gdstk.Reference(via_39, (-75.84,32.85), rotation=3*pi/2, x_reflection=True))
c_2div.add(gdstk.Reference(ptap1_2, (-79.39,11.1), rotation=pi, x_reflection=True))
c_2div.add(gdstk.Reference(ptap1_2, (-79.05,11.1), rotation=pi, x_reflection=True))
c_2div.add(gdstk.Reference(ptap1_2, (-78.71,11.1), rotation=pi, x_reflection=True))
c_2div.add(gdstk.Reference(ptap1_2, (-78.37,11.1), rotation=pi, x_reflection=True))
c_2div.add(gdstk.Reference(d_flip_flop_2, (-79.65,23.08), rotation=pi, x_reflection=True))
c_2div.add(gdstk.Reference(via_39, (-76.09,21.62), rotation=pi, x_reflection=True))
c_2div.add(gdstk.Reference(via_39, (-75.84,19.77), rotation=3*pi/2, x_reflection=True))
c_2div.add(gdstk.Reference(via_39, (-76.09,8.54), rotation=pi, x_reflection=True))
c_2div.add(gdstk.Reference(via_39, (-75.84,6.69), rotation=3*pi/2, x_reflection=True))
c_2div.add(gdstk.Reference(via_39, (-76.09,-4.54), rotation=pi, x_reflection=True))
c_2div.add(gdstk.Reference(via_39, (-75.84,-6.39), rotation=3*pi/2, x_reflection=True))
c_2div.add(gdstk.Reference(via_39, (-87.99,21.62), rotation=pi, x_reflection=True))
c_2div.add(gdstk.Reference(via_39, (-87.74,19.77), rotation=3*pi/2, x_reflection=True))
c_2div.add(gdstk.Reference(via_39, (-87.99,8.54), rotation=pi, x_reflection=True))
c_2div.add(gdstk.Reference(via_39, (-87.74,6.69), rotation=3*pi/2, x_reflection=True))
c_2div.add(gdstk.Reference(via_39, (-87.99,-4.54), rotation=pi, x_reflection=True))
c_2div.add(gdstk.Reference(via_39, (-87.74,-6.39), rotation=3*pi/2, x_reflection=True))
c_2div.add(gdstk.Reference(via_39, (-79.68,27.52), rotation=pi, x_reflection=True))
c_2div.add(gdstk.Reference(via_39, (-79.68,14.44), rotation=pi, x_reflection=True))
c_2div.add(gdstk.Reference(via_39, (-79.68,1.36), rotation=pi, x_reflection=True))
c_2div.add(gdstk.Reference(via_40, (-66.95,36.115)))
c_2div.add(gdstk.Reference(via_40, (-67.77,36.115)))
c_2div.add(gdstk.Reference(via_43, (-77.38,37.65)))
c_2div.add(gdstk.Reference(via_40, (-66.36,37.655)))
c_2div.add(gdstk.Reference(via_40, (-66.36,27.025)))
c_2div.add(gdstk.Reference(via_40, (-67.77,27.025)))
c_2div.add(gdstk.Reference(via_43, (-89.28,24.57)))
c_2div.add(gdstk.Reference(via_43, (-89.28,11.49)))
c_2div.add(gdstk.Reference(via_43, (-89.28,-1.59)))
c_2div.add(gdstk.Reference(via_43, (-77.38,31.11)))
c_2div.add(gdstk.Reference(via_43, (-77.38,18.03)))
c_2div.add(gdstk.Reference(d_flip_flop_2, (-67.75,10), rotation=pi, x_reflection=True))
c_2div.add(gdstk.Reference(via_40, (-65.19,24.575)))
c_2div.add(gdstk.Reference(via_40, (-65.17,13.975)))
c_2div.add(gdstk.Reference(via_40, (-67.77,13.97)))
c_2div.add(gdstk.Reference(via_40, (-64.59,18.035)))
c_2div.add(gdstk.Reference(via_40, (-64,11.495)))
c_2div.add(gdstk.Reference(via_43, (-77.38,4.955)))
c_2div.add(gdstk.Reference(via_40, (-64,0.89)))
c_2div.add(gdstk.Reference(via_40, (-67.77,0.89)))
c_2div.add(gdstk.Reference(via_40, (-63.41,4.945)))
c_2div.add(gdstk.Reference(via_40, (-62.82,-1.595)))
c_2div.add(gdstk.Label('vp', (-72.84,44.13), layer=8, texttype=2))
c_2div.add(gdstk.Label('vp', (-72.84,31.07), layer=8, texttype=2))
c_2div.add(gdstk.Label('vp', (-72.84,18.03), layer=8, texttype=2))
c_2div.add(gdstk.Label('vp', (-72.84,4.89), layer=8, texttype=2))
c_2div.add(gdstk.Label('vp', (-72.84,-8.09), layer=8, texttype=2))
c_2div.add(gdstk.Label('gd', (-73.05,37.63), layer=8, texttype=2))
c_2div.add(gdstk.Label('gd', (-73.05,24.62), layer=8, texttype=2))
c_2div.add(gdstk.Label('gd', (-73.05,11.53), layer=8, texttype=2))
c_2div.add(gdstk.Label('gd', (-73.05,-1.64), layer=8, texttype=2))
c_2div.add(gdstk.Label('in', (-66.953,36.32), layer=30, texttype=2))
c_2div.add(gdstk.Label('div2', (-66.37,36.32), layer=30, texttype=2))
c_2div.add(gdstk.Label('div4', (-65.76,36.32), layer=30, texttype=2))
c_2div.add(gdstk.Label('div8', (-65.19,36.32), layer=30, texttype=2))
c_2div.add(gdstk.Label('div16', (-64.61,36.32), layer=30, texttype=2))
c_2div.add(gdstk.Label('div32', (-64.03,36.32), layer=30, texttype=2))
c_2div.add(gdstk.Label('div64', (-63.4,36.32), layer=30, texttype=2))
c_2div.add(gdstk.Label('div128', (-62.87,36.32), layer=30, texttype=2))

lib.write_gds('2Div.gds')
